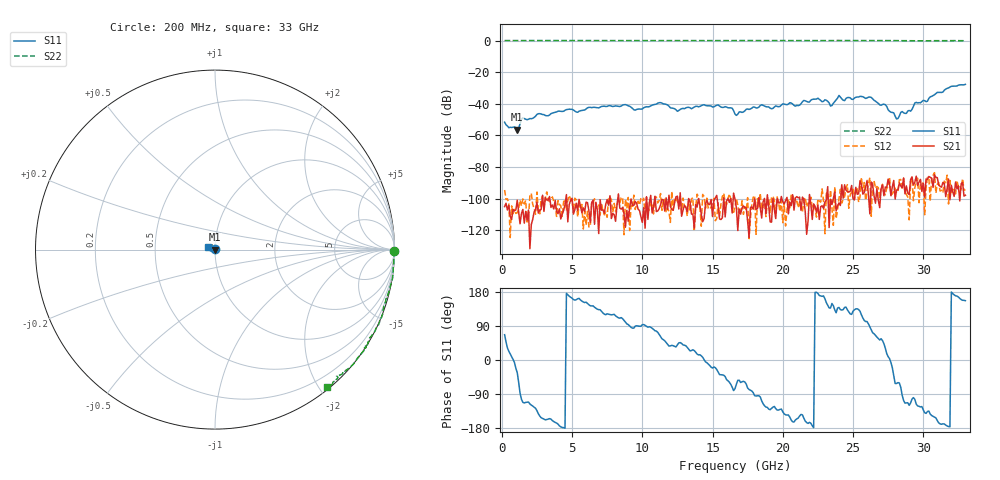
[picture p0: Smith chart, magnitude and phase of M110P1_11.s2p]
# GHZ S RI R 50
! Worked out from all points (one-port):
!   329 points, 200 MHz to 33 GHz, reference 50 ohm
!   lowest |S11| = -56.3 dB at 1.1 GHz (marker M1), VSWR 1.00, Z = 50.1 - j0.0852 ohm
!   |S11| at or under -10 dB: start of sweep to end of sweep
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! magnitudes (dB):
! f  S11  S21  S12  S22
! 200 MHz  -51.6  -105.0  -94.4  0.0
! 1.1 GHz  -56.3  -100.9  -108.8  0.0
! 1.5 GHz  -48.8  -106.7  -100.1  0.0
! 5.7 GHz  -44.2  -108.8  -103.6  0.0
! 8.8 GHz  -40.5  -118.0  -100.2  0.0
! 9.5 GHz  -44.0  -101.7  -106.8  0.0
! 11.2 GHz  -39.3  -106.3  -101.1  -0.1
! 12.5 GHz  -44.7  -98.3  -101.7  -0.1
! 15.4 GHz  -40.7  -104.6  -102.6  0.0
! 16.4 GHz  -42.7  -109.0  -104.4  0.0
! 16.6 GHz  -46.4  -100.2  -104.9  0.0
! 22.1 GHz  -37.2  -113.1  -105.8  0.0
! 23.4 GHz  -41.4  -100.3  -94.5  0.0
! 24 GHz  -34.7  -102.6  -99.9  0.0
! 24.4 GHz  -38.0  -91.2  -98.8  0.0
! 26.2 GHz  -35.7  -109.5  -86.6  0.0
! 27.6 GHz  -44.7  -90.6  -86.5  0.0
! 28.2 GHz  -49.3  -94.2  -95.6  -0.1
! 28.5 GHz  -44.9  -93.1  -94.1  -0.1
! 29.1 GHz  -44.7  -87.8  -88.9  -0.1
! 29.4 GHz  -39.5  -89.6  -93.1  -0.1
! 33 GHz  -27.7  -97.7  -94.4  -0.1
